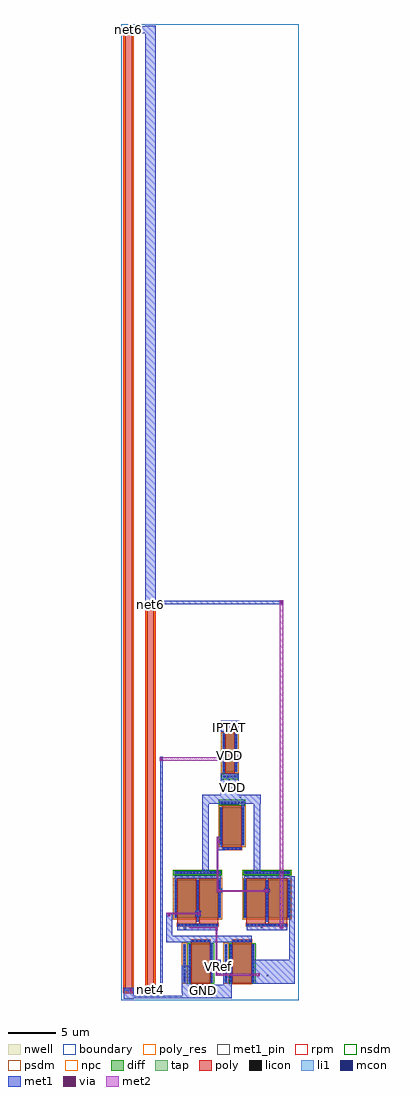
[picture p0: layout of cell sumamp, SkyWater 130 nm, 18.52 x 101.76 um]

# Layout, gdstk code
import gdstk
lib = gdstk.Library(unit=1e-6, precision=1e-09)
def R(c, l, rs):  # rectangles x0, y0, x1, y1
    for r in rs: c.add(gdstk.rectangle(r[:2], r[2:], *l))
def A(c, l, x, y, w, h, nx, ny, dx, dy):  # array of equal rectangles
    R(c, l, [(x+i*dx, y+j*dy, x+i*dx+w, y+j*dy+h) for i in range(nx) for j in range(ny)])
nwell = (64, 20)
diff = (65, 20)
tap = (65, 44)
poly_res = (66, 13)
poly = (66, 20)
licon = (66, 44)
li1 = (67, 20)
mcon = (67, 44)
met1_pin = (68, 16)
met1 = (68, 20)
via = (68, 44)
met2 = (69, 20)
rpm = (86, 20)
nsdm = (93, 44)
psdm = (94, 20)
npc = (95, 20)
boundary = (235, 4)

m1m2_c_cdns_778477258270 = lib.new_cell('M1M2_C_CDNS_778477258270')
R(m1m2_c_cdns_778477258270, met1, [(-0.13,-0.16,0.13,0.16)])
R(m1m2_c_cdns_778477258270, via, [(-0.075,-0.075,0.075,0.075)])
R(m1m2_c_cdns_778477258270, met2, [(-0.13,-0.16,0.13,0.16)])

ota = lib.new_cell('ota')
R(ota, nwell, [(1.19,9.285,6.36,14.515), (8.415,9.285,13.585,14.515), (5.915,16.845,8.805,21.835)])
R(ota, diff, [(2.825,2.725,3.09,6.725), (3.09,2.725,5.09,6.725), (5.09,2.725,5.355,6.725), (7.135,2.725,7.4,6.725), (7.4,2.725,9.4,6.725), (9.4,2.725,9.665,6.725), (1.37,9.465,1.635,13.465), (1.635,9.465,3.635,13.465), (3.635,9.465,3.915,13.465), (3.915,9.465,5.915,13.465), (5.915,9.465,6.18,13.465), (8.595,9.465,8.86,13.465), (8.86,9.465,10.86,13.465), (10.86,9.465,11.14,13.465), (11.14,9.465,13.14,13.465), (13.14,9.465,13.405,13.465), (6.095,17.025,6.36,21.025), (6.36,17.025,8.36,21.025), (8.36,17.025,8.625,21.025)])
R(ota, tap, [(2.265,2.725,2.555,6.725), (6.575,2.725,6.865,6.725), (1.37,14.045,6.18,14.335), (8.595,14.045,13.405,14.335), (6.095,21.365,8.625,21.655)])
R(ota, poly, [(3.09,2.575,5.09,2.725), (7.4,2.575,9.4,2.725), (3.09,2.725,5.09,6.725), (7.4,2.725,9.4,6.725), (3.09,6.725,5.09,6.915), (7.4,6.725,9.4,6.915), (3.09,6.915,5.09,7.185), (7.4,6.915,9.4,7.185), (1.635,8.605,5.915,8.875), (8.86,8.605,13.14,8.875), (1.635,8.875,3.635,9.465), (3.915,8.875,5.915,9.465), (8.86,8.875,10.86,9.465), (11.14,8.875,13.14,9.465), (1.635,9.465,3.635,13.465), (3.915,9.465,5.915,13.465), (8.86,9.465,10.86,13.465), (11.14,9.465,13.14,13.465), (1.635,13.465,3.635,13.615), (3.915,13.465,5.915,13.615), (8.86,13.465,10.86,13.615), (11.14,13.465,13.14,13.615), (6.36,16.565,8.36,16.835), (6.36,16.835,8.36,17.025), (6.36,17.025,8.36,21.025), (6.36,21.025,8.36,21.175)])
A(ota, licon, 2.325, 2.94, 0.17, 0.17, 1, 11, 0, 0.34)
A(ota, licon, 2.865, 2.94, 0.17, 0.17, 1, 11, 0, 0.34)
A(ota, licon, 5.145, 2.94, 0.17, 0.17, 1, 11, 0, 0.34)
A(ota, licon, 6.635, 2.94, 0.17, 0.17, 1, 11, 0, 0.34)
A(ota, licon, 7.175, 2.94, 0.17, 0.17, 1, 11, 0, 0.34)
A(ota, licon, 9.455, 2.94, 0.17, 0.17, 1, 11, 0, 0.34)
A(ota, licon, 3.17, 6.965, 0.17, 0.17, 3, 1, 0.42, 0)
A(ota, licon, 7.48, 6.965, 0.17, 0.17, 3, 1, 0.42, 0)
A(ota, licon, 1.715, 8.655, 0.17, 0.17, 10, 1, 0.36, 0)
A(ota, licon, 8.94, 8.655, 0.17, 0.17, 10, 1, 0.36, 0)
A(ota, licon, 1.41, 9.68, 0.17, 0.17, 3, 11, 2.28, 0.34)
A(ota, licon, 8.635, 9.68, 0.17, 0.17, 3, 11, 2.28, 0.34)
A(ota, licon, 1.65, 14.105, 0.17, 0.17, 13, 1, 0.34, 0)
A(ota, licon, 8.875, 14.105, 0.17, 0.17, 13, 1, 0.34, 0)
A(ota, licon, 6.44, 16.615, 0.17, 0.17, 3, 1, 0.42, 0)
A(ota, licon, 6.135, 17.24, 0.17, 0.17, 1, 11, 0, 0.34)
A(ota, licon, 8.415, 17.24, 0.17, 0.17, 1, 11, 0, 0.34)
A(ota, licon, 6.255, 21.425, 0.17, 0.17, 7, 1, 0.34, 0)
R(ota, licon, [(4.425,6.965,4.595,7.135), (4.84,6.965,5.01,7.135), (8.735,6.965,8.905,7.135), (9.15,6.965,9.32,7.135), (5.31,8.655,5.48,8.825), (5.665,8.655,5.835,8.825), (12.535,8.655,12.705,8.825), (12.89,8.655,13.06,8.825), (7.695,16.615,7.865,16.785), (8.11,16.615,8.28,16.785)])
A(ota, li1, 1.41, 9.465, 0.17, 4, 3, 1, 2.28, 0)
A(ota, li1, 8.635, 9.465, 0.17, 4, 3, 1, 2.28, 0)
R(ota, li1, [(2.275,2.725,2.545,6.725), (2.865,2.725,3.035,6.725), (5.145,2.725,5.315,6.725), (6.585,2.725,6.855,6.725), (7.175,2.725,7.345,6.725), (9.455,2.725,9.625,6.725), (3.09,6.935,5.09,7.165), (7.4,6.935,9.4,7.165), (1.635,8.625,5.915,8.855), (8.86,8.625,13.14,8.855), (1.38,14.055,6.17,14.325), (8.605,14.055,13.395,14.325), (6.36,16.585,8.36,16.815), (6.135,17.025,6.305,21.025), (8.415,17.025,8.585,21.025), (6.105,21.375,8.615,21.645)])
A(ota, mcon, 2.325, 2.84, 0.17, 0.17, 1, 11, 0, 0.36)
A(ota, mcon, 2.865, 2.84, 0.17, 0.17, 1, 11, 0, 0.36)
A(ota, mcon, 5.145, 2.84, 0.17, 0.17, 1, 11, 0, 0.36)
A(ota, mcon, 6.635, 2.84, 0.17, 0.17, 1, 11, 0, 0.36)
A(ota, mcon, 7.175, 2.84, 0.17, 0.17, 1, 11, 0, 0.36)
A(ota, mcon, 9.455, 2.84, 0.17, 0.17, 1, 11, 0, 0.36)
A(ota, mcon, 3.17, 6.965, 0.17, 0.17, 3, 1, 0.42, 0)
A(ota, mcon, 7.48, 6.965, 0.17, 0.17, 3, 1, 0.42, 0)
A(ota, mcon, 1.715, 8.655, 0.17, 0.17, 11, 1, 0.395, 0)
A(ota, mcon, 8.94, 8.655, 0.17, 0.17, 11, 1, 0.395, 0)
A(ota, mcon, 1.41, 9.58, 0.17, 0.17, 3, 11, 2.28, 0.36)
A(ota, mcon, 8.635, 9.58, 0.17, 0.17, 3, 11, 2.28, 0.36)
A(ota, mcon, 1.53, 14.105, 0.17, 0.17, 13, 1, 0.36, 0)
A(ota, mcon, 8.755, 14.105, 0.17, 0.17, 13, 1, 0.36, 0)
A(ota, mcon, 6.44, 16.615, 0.17, 0.17, 3, 1, 0.42, 0)
A(ota, mcon, 6.135, 17.14, 0.17, 0.17, 1, 11, 0, 0.36)
A(ota, mcon, 8.415, 17.14, 0.17, 0.17, 1, 11, 0, 0.36)
A(ota, mcon, 6.195, 21.425, 0.17, 0.17, 7, 1, 0.36, 0)
R(ota, mcon, [(4.425,6.965,4.595,7.135), (4.84,6.965,5.01,7.135), (8.735,6.965,8.905,7.135), (9.15,6.965,9.32,7.135), (7.695,16.615,7.865,16.785), (8.11,16.615,8.28,16.785)])
R(ota, met1_pin, [(3.005,2.04,3.145,2.18), (10.99,3.405,11.13,3.545), (2.335,8.31,2.565,8.555), (10.365,8.42,10.505,8.56), (8.185,22.01,8.3,22.105)])
A(ota, met1, 1.38, 9.465, 0.23, 4, 3, 1, 2.28, 0)
A(ota, met1, 8.605, 9.465, 0.23, 4, 3, 1, 2.28, 0)
R(ota, met1, [(2.12,1.595,7.32,2.515), (2.12,1.935,3.02,4.46), (6.455,1.935,7.32,4.6), (9.495,2.595,13.875,5.11), (13.3,2.595,13.875,13.815), (2.275,2.725,2.545,6.725), (2.835,2.725,3.065,6.725), (5.115,2.725,5.345,6.725), (6.585,2.725,6.855,6.725), (7.145,2.725,7.375,6.725), (9.425,2.725,9.655,6.725), (5.075,4.905,5.36,7.46), (3.09,6.915,5.09,7.185), (7.4,6.915,9.4,7.185), (0.485,6.92,1.13,10.025), (0.485,6.92,9.41,7.59), (1.645,8.205,5.885,8.845), (8.88,8.205,13.12,8.845), (1.635,8.605,5.915,8.875), (8.86,8.605,13.14,8.875), (3.66,9.065,3.89,9.295), (10.885,9.065,11.115,9.295), (3.66,9.295,3.89,9.465), (10.885,9.295,11.115,9.465), (3.5,9.64,4.075,10.235), (5.755,12.13,6.33,12.49), (10.72,12.13,11.295,12.49), (1.38,13.465,1.61,13.635), (5.94,13.465,6.17,13.635), (8.605,13.465,8.835,13.635), (13.165,13.465,13.395,13.635), (1.38,13.635,6.17,13.865), (8.605,13.635,13.395,13.865), (1.38,14.055,6.17,14.325), (8.605,14.055,13.395,14.325), (4.245,14.065,4.91,22.285), (9.645,14.07,10.31,22.29), (5.76,16.52,6.605,16.855), (5.76,16.52,6.305,17.945), (6.36,16.565,8.36,16.835), (6.105,17.025,6.335,21.025), (8.385,17.025,8.615,21.025), (8.375,20.795,8.65,21.755), (4.245,21.375,10.335,22.29), (6.105,21.375,8.615,21.645)])
R(ota, met2, [(0.485,9.875,4.075,10.02), (5.76,12.145,5.915,17.945), (5.785,12.21,11.15,12.355)])
R(ota, nsdm, [(2.685,2.595,5.495,6.855), (6.995,2.595,9.805,6.855), (1.24,13.915,6.31,14.465), (8.465,13.915,13.535,14.465), (5.965,21.235,8.755,21.785)])
R(ota, psdm, [(2.125,2.585,2.695,6.865), (6.435,2.585,7.005,6.865), (1.23,9.335,6.32,13.595), (8.455,9.335,13.545,13.595), (5.955,16.895,8.765,21.155)])
R(ota, npc, [(3.04,6.865,5.14,7.235), (7.35,6.865,9.45,7.235), (1.585,8.555,5.965,8.925), (8.81,8.555,13.19,8.925), (6.31,16.515,8.41,16.885)])
ota.add(gdstk.Reference(m1m2_c_cdns_778477258270, (0.795,9.82)))
ota.add(gdstk.Reference(m1m2_c_cdns_778477258270, (5.95,12.31)))
ota.add(gdstk.Reference(m1m2_c_cdns_778477258270, (10.96,12.29)))
ota.add(gdstk.Reference(m1m2_c_cdns_778477258270, (5.96,17.455)))
ota.add(gdstk.Reference(m1m2_c_cdns_778477258270, (3.835,9.975)))
ota.add(gdstk.Label('VDD', (7.36,19.34), layer=64, texttype=20))
ota.add(gdstk.Label('VDD', (3.775,11.9), layer=64, texttype=20))
ota.add(gdstk.Label('VDD', (11,11.9), layer=64, texttype=20))
ota.add(gdstk.Label('V1', (2.45,8.432), layer=68, texttype=16))
ota.add(gdstk.Label('V2', (10.435,8.49), layer=68, texttype=16))
ota.add(gdstk.Label('GND', (3.075,2.11), layer=68, texttype=16))
ota.add(gdstk.Label('Vout', (11.06,3.475), layer=68, texttype=16))
ota.add(gdstk.Label('VDD', (8.242,22.057), layer=68, texttype=16))
ota.add(gdstk.Label('VDD', (7.36,21.51), layer=68, texttype=20))
ota.add(gdstk.Label('net2', (7.36,16.7), layer=68, texttype=20))
ota.add(gdstk.Label('VDD', (8.5,19.025), layer=68, texttype=20))
ota.add(gdstk.Label('net2', (6.22,19.025), layer=68, texttype=20))
ota.add(gdstk.Label('GND', (2.41,4.725), layer=68, texttype=20))
ota.add(gdstk.Label('net8', (4.09,7.05), layer=68, texttype=20))
ota.add(gdstk.Label('net8', (5.23,4.725), layer=68, texttype=20))
ota.add(gdstk.Label('GND', (2.95,4.725), layer=68, texttype=20))
ota.add(gdstk.Label('GND', (6.72,4.725), layer=68, texttype=20))
ota.add(gdstk.Label('net8', (8.4,7.05), layer=68, texttype=20))
ota.add(gdstk.Label('Vout', (9.54,4.725), layer=68, texttype=20))
ota.add(gdstk.Label('GND', (7.26,4.725), layer=68, texttype=20))
ota.add(gdstk.Label('VDD', (3.775,14.19), layer=68, texttype=20))
ota.add(gdstk.Label('V1', (3.775,8.74), layer=68, texttype=20))
ota.add(gdstk.Label('net8', (3.775,9.18), layer=68, texttype=20))
ota.add(gdstk.Label('net8', (3.775,9.38), layer=68, texttype=20))
ota.add(gdstk.Label('net8', (3.775,11.465), layer=68, texttype=20))
ota.add(gdstk.Label('net2', (3.775,13.75), layer=68, texttype=20))
ota.add(gdstk.Label('net2', (6.055,13.55), layer=68, texttype=20))
ota.add(gdstk.Label('net2', (1.495,13.55), layer=68, texttype=20))
ota.add(gdstk.Label('net2', (6.055,11.465), layer=68, texttype=20))
ota.add(gdstk.Label('net2', (1.495,11.465), layer=68, texttype=20))
ota.add(gdstk.Label('VDD', (11,14.19), layer=68, texttype=20))
ota.add(gdstk.Label('V2', (11,8.74), layer=68, texttype=20))
ota.add(gdstk.Label('net2', (11,9.18), layer=68, texttype=20))
ota.add(gdstk.Label('net2', (11,9.38), layer=68, texttype=20))
ota.add(gdstk.Label('net2', (11,11.465), layer=68, texttype=20))
ota.add(gdstk.Label('Vout', (11,13.75), layer=68, texttype=20))
ota.add(gdstk.Label('Vout', (13.28,13.55), layer=68, texttype=20))
ota.add(gdstk.Label('Vout', (8.72,13.55), layer=68, texttype=20))
ota.add(gdstk.Label('Vout', (13.28,11.465), layer=68, texttype=20))
ota.add(gdstk.Label('Vout', (8.72,11.465), layer=68, texttype=20))
ota.add(gdstk.Label('net2', (7.36,16.7), layer=67, texttype=20))
ota.add(gdstk.Label('GND', (2.41,4.725), layer=67, texttype=20))
ota.add(gdstk.Label('net8', (4.09,7.05), layer=67, texttype=20))
ota.add(gdstk.Label('GND', (6.72,4.725), layer=67, texttype=20))
ota.add(gdstk.Label('net8', (8.4,7.05), layer=67, texttype=20))
ota.add(gdstk.Label('V1', (3.775,8.74), layer=67, texttype=20))
ota.add(gdstk.Label('V2', (11,8.74), layer=67, texttype=20))
ota.add(gdstk.Label('VDD', (8.492,19.025), layer=65, texttype=20))
ota.add(gdstk.Label('net2', (6.227,19.025), layer=65, texttype=20))
ota.add(gdstk.Label('net8', (5.222,4.725), layer=65, texttype=20))
ota.add(gdstk.Label('GND', (2.957,4.725), layer=65, texttype=20))
ota.add(gdstk.Label('Vout', (9.532,4.725), layer=65, texttype=20))
ota.add(gdstk.Label('GND', (7.267,4.725), layer=65, texttype=20))
ota.add(gdstk.Label('net2', (6.047,11.465), layer=65, texttype=20))
ota.add(gdstk.Label('net2', (1.502,11.465), layer=65, texttype=20))
ota.add(gdstk.Label('Vout', (13.272,11.465), layer=65, texttype=20))
ota.add(gdstk.Label('Vout', (8.727,11.465), layer=65, texttype=20))

l1m1_c_cdns_778477258271 = lib.new_cell('L1M1_C_CDNS_778477258271')
R(l1m1_c_cdns_778477258271, li1, [(-0.085,-0.165,0.085,0.165)])
R(l1m1_c_cdns_778477258271, mcon, [(-0.085,-0.085,0.085,0.085)])
R(l1m1_c_cdns_778477258271, met1, [(-0.13,-0.16,0.13,0.16)])

l1m1_c_cdns_778477258272 = lib.new_cell('L1M1_C_CDNS_778477258272')
R(l1m1_c_cdns_778477258272, li1, [(-0.085,-0.165,0.085,0.165)])
R(l1m1_c_cdns_778477258272, mcon, [(-0.085,-0.085,0.085,0.085)])
R(l1m1_c_cdns_778477258272, met1, [(-0.115,-0.145,0.115,0.145)])

sumamp = lib.new_cell('sumamp')
R(sumamp, nwell, [(20.41,25.125,22.3,30.115)])
R(sumamp, diff, [(20.59,25.935,20.855,29.935), (20.855,25.935,21.855,29.935), (21.855,25.935,22.12,29.935)])
R(sumamp, tap, [(20.59,25.305,22.12,25.595)])
R(sumamp, poly_res, [(10.46,3.265,11.15,103.265), (12.745,3.335,13.435,43.335)])
R(sumamp, poly, [(10.46,3.045,11.15,3.315), (12.745,3.115,13.435,3.385), (10.46,3.315,11.15,103.215), (12.745,3.385,13.435,43.285), (20.855,25.785,21.855,25.935), (20.855,25.935,21.855,29.935), (20.855,29.935,21.855,30.125), (20.855,30.125,21.855,30.395), (12.745,43.285,13.435,43.555), (10.46,103.215,11.15,103.485)])
A(sumamp, licon, 20.76, 25.365, 0.17, 0.17, 4, 1, 0.34, 0)
A(sumamp, licon, 20.63, 26.15, 0.17, 0.17, 1, 11, 0, 0.34)
A(sumamp, licon, 21.91, 26.15, 0.17, 0.17, 1, 11, 0, 0.34)
R(sumamp, licon, [(10.54,3.095,10.71,3.265), (10.9,3.095,11.07,3.265), (12.825,3.165,12.995,3.335), (13.185,3.165,13.355,3.335), (20.935,30.175,21.105,30.345), (21.605,30.175,21.775,30.345), (12.825,43.335,12.995,43.505), (13.185,43.335,13.355,43.505), (10.54,103.265,10.71,103.435), (10.9,103.265,11.07,103.435)])
R(sumamp, li1, [(10.36,3.095,11.25,3.265), (12.645,3.165,13.535,3.335), (20.6,25.315,22.11,25.585), (20.63,25.935,20.8,29.935), (21.91,25.935,22.08,29.935), (20.855,30.145,21.855,30.375), (12.645,43.335,13.535,43.505), (10.36,103.265,11.25,103.435)])
A(sumamp, mcon, 20.73, 25.365, 0.17, 0.17, 4, 1, 0.36, 0)
A(sumamp, mcon, 20.63, 26.05, 0.17, 0.17, 1, 11, 0, 0.36)
A(sumamp, mcon, 21.91, 26.05, 0.17, 0.17, 1, 11, 0, 0.36)
R(sumamp, mcon, [(20.935,30.175,21.105,30.345), (21.605,30.175,21.775,30.345)])
R(sumamp, met1_pin, [(18.515,3.075,18.655,3.215), (20.11,5.525,20.25,5.665), (21.56,24.22,21.7,24.36), (21.28,30.51,21.42,30.65)])
R(sumamp, met1, [(10.28,2.285,11.345,3.395), (10.295,2.32,21.525,2.575), (16.4,2.33,21.545,3.66), (12.54,2.915,14.35,3.37), (14.085,2.92,14.375,27.495), (18.37,2.93,18.83,3.315), (19.885,4.645,20.425,6.33), (20.4,22.545,22.3,25.705), (20.63,25.31,20.83,26.04), (20.6,25.315,22.11,25.585), (20.6,25.935,20.83,29.935), (21.88,25.935,22.11,29.935), (21.995,26.945,22.265,27.63), (20.385,30.12,22.305,31.24), (20.855,30.125,21.855,30.395), (12.535,43.26,13.625,103.7), (13.46,43.39,26.9,43.79), (10.275,102.925,13.625,103.69)])
R(sumamp, met2, [(19.885,4.65,20.055,9.75), (19.885,4.655,24.465,4.86), (26.575,9.6,26.925,43.82), (17.125,9.61,20.095,9.755), (14.045,27.095,22.255,27.47)])
R(sumamp, rpm, [(10.26,2.845,11.35,103.685), (12.545,2.915,13.635,43.755)])
R(sumamp, nsdm, [(20.46,25.175,22.25,25.725)])
R(sumamp, psdm, [(10.35,2.935,11.26,103.595), (12.635,3.005,13.545,43.665), (20.45,25.805,22.26,30.065)])
R(sumamp, npc, [(10.365,2.95,11.245,103.58), (12.65,3.02,13.53,43.65), (20.805,30.075,21.905,30.445)])
R(sumamp, boundary, [(10.02,2.14,28.54,103.9)])
sumamp.add(gdstk.Reference(ota, (14.22,1.225)))
sumamp.add(gdstk.Reference(m1m2_c_cdns_778477258270, (24.36,4.775)))
sumamp.add(gdstk.Reference(m1m2_c_cdns_778477258270, (20.055,4.85)))
sumamp.add(gdstk.Reference(m1m2_c_cdns_778477258270, (19.965,9.595)))
sumamp.add(gdstk.Reference(m1m2_c_cdns_778477258270, (26.75,9.71)))
sumamp.add(gdstk.Reference(m1m2_c_cdns_778477258270, (26.725,43.59)))
sumamp.add(gdstk.Reference(m1m2_c_cdns_778477258270, (22.175,27.34)))
sumamp.add(gdstk.Reference(m1m2_c_cdns_778477258270, (14.235,27.25)))
sumamp.add(gdstk.Reference(m1m2_c_cdns_778477258270, (11.045,3.14)))
sumamp.add(gdstk.Reference(l1m1_c_cdns_778477258271, (11.045,3.14)))
sumamp.add(gdstk.Reference(l1m1_c_cdns_778477258272, (13.095,43.47)))
sumamp.add(gdstk.Reference(l1m1_c_cdns_778477258272, (10.925,103.33)))
sumamp.add(gdstk.Reference(l1m1_c_cdns_778477258272, (13.31,3.115)))
sumamp.add(gdstk.Label('VDD', (21.355,27.62), layer=64, texttype=20))
sumamp.add(gdstk.Label('IPTAT', (21.35,30.58), layer=68, texttype=16))
sumamp.add(gdstk.Label('VRef', (20.18,5.595), layer=68, texttype=16))
sumamp.add(gdstk.Label('GND', (18.585,3.145), layer=68, texttype=16))
sumamp.add(gdstk.Label('VDD', (21.63,24.29), layer=68, texttype=16))
sumamp.add(gdstk.Label('VDD', (21.355,25.45), layer=68, texttype=20))
sumamp.add(gdstk.Label('IPTAT', (21.355,30.26), layer=68, texttype=20))
sumamp.add(gdstk.Label('net4', (21.995,27.935), layer=68, texttype=20))
sumamp.add(gdstk.Label('VDD', (20.715,27.935), layer=68, texttype=20))
sumamp.add(gdstk.Label('net4', (21.987,27.935), layer=65, texttype=20))
sumamp.add(gdstk.Label('VDD', (20.722,27.935), layer=65, texttype=20))
sumamp.add(gdstk.Label('net6', (13.09,43.42), layer=67, texttype=20))
sumamp.add(gdstk.Label('net4', (13.09,3.25), layer=67, texttype=20))
sumamp.add(gdstk.Label('net6', (10.805,103.35), layer=67, texttype=20))
sumamp.add(gdstk.Label('GND', (10.805,3.18), layer=67, texttype=20))
sumamp.add(gdstk.Label('IPTAT', (21.355,30.26), layer=67, texttype=20))
sumamp.add(gdstk.Label('IPTAT', (21.35,30.58), layer=83, texttype=44))
sumamp.add(gdstk.Label('VRef', (20.18,5.595), layer=83, texttype=44))
sumamp.add(gdstk.Label('GND', (18.585,3.145), layer=83, texttype=44))
sumamp.add(gdstk.Label('VDD', (21.63,24.29), layer=83, texttype=44))

lib.write_gds('sumamp.gds')
